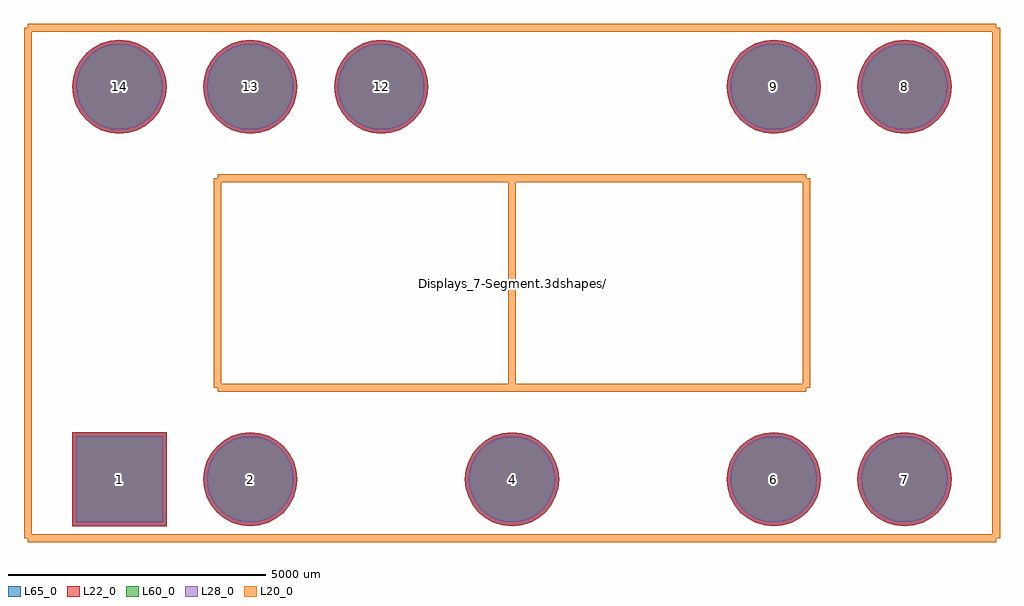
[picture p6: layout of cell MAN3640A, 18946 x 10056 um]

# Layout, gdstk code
import gdstk
lib = gdstk.Library(unit=1e-6, precision=1e-09)
def R(c, l, rs):  # rectangles x0, y0, x1, y1
    for r in rs: c.add(gdstk.rectangle(r[:2], r[2:], *l))
def P(c, l, *ps):  # polygons
    for p in ps: c.add(gdstk.Polygon(p, *l))
L20_0 = (20, 0)
L22_0 = (22, 0)
L28_0 = (28, 0)
L60_0 = (60, 0)
L65_0 = (65, 0)

man3640a = lib.new_cell('MAN3640A')
R(man3640a, L22_0, [(-8533.2,-4723.2,-6706.8,-2896.8)])
P(man3640a, L22_0, [(-6706.8,3810),(-6724.347,3988.156),(-6776.313,4159.467),(-6860.702,4317.347),(-6974.27,4455.73),(-7112.653,4569.298),(-7270.533,4653.687),(-7441.844,4705.653),(-7620,4723.2),(-7798.156,4705.653),(-7969.467,4653.687),(-8127.347,4569.298),(-8265.73,4455.73),(-8379.298,4317.347),(-8463.687,4159.467),(-8515.653,3988.156),(-8533.2,3810),(-8515.653,3631.844),(-8463.687,3460.533),(-8379.298,3302.653),(-8265.73,3164.27),(-8127.347,3050.702),(-7969.467,2966.313),(-7798.156,2914.347),(-7620,2896.8),(-7441.844,2914.347),(-7270.533,2966.313),(-7112.653,3050.702),(-6974.27,3164.27),(-6860.702,3302.653),(-6776.313,3460.533),(-6724.347,3631.844)],
  [(-4166.8,3810),(-4184.347,3988.156),(-4236.313,4159.467),(-4320.702,4317.347),(-4434.27,4455.73),(-4572.653,4569.298),(-4730.533,4653.687),(-4901.844,4705.653),(-5080,4723.2),(-5258.156,4705.653),(-5429.467,4653.687),(-5587.347,4569.298),(-5725.73,4455.73),(-5839.298,4317.347),(-5923.687,4159.467),(-5975.653,3988.156),(-5993.2,3810),(-5975.653,3631.844),(-5923.687,3460.533),(-5839.298,3302.653),(-5725.73,3164.27),(-5587.347,3050.702),(-5429.467,2966.313),(-5258.156,2914.347),(-5080,2896.8),(-4901.844,2914.347),(-4730.533,2966.313),(-4572.653,3050.702),(-4434.27,3164.27),(-4320.702,3302.653),(-4236.313,3460.533),(-4184.347,3631.844)],
  [(-1626.8,3810),(-1644.347,3988.156),(-1696.313,4159.467),(-1780.702,4317.347),(-1894.27,4455.73),(-2032.653,4569.298),(-2190.533,4653.687),(-2361.844,4705.653),(-2540,4723.2),(-2718.156,4705.653),(-2889.467,4653.687),(-3047.347,4569.298),(-3185.73,4455.73),(-3299.298,4317.347),(-3383.687,4159.467),(-3435.653,3988.156),(-3453.2,3810),(-3435.653,3631.844),(-3383.687,3460.533),(-3299.298,3302.653),(-3185.73,3164.27),(-3047.347,3050.702),(-2889.467,2966.313),(-2718.156,2914.347),(-2540,2896.8),(-2361.844,2914.347),(-2190.533,2966.313),(-2032.653,3050.702),(-1894.27,3164.27),(-1780.702,3302.653),(-1696.313,3460.533),(-1644.347,3631.844)],
  [(5993.2,3810),(5975.653,3988.156),(5923.687,4159.467),(5839.298,4317.347),(5725.73,4455.73),(5587.347,4569.298),(5429.467,4653.687),(5258.156,4705.653),(5080,4723.2),(4901.844,4705.653),(4730.533,4653.687),(4572.653,4569.298),(4434.27,4455.73),(4320.702,4317.347),(4236.313,4159.467),(4184.347,3988.156),(4166.8,3810),(4184.347,3631.844),(4236.313,3460.533),(4320.702,3302.653),(4434.27,3164.27),(4572.653,3050.702),(4730.533,2966.313),(4901.844,2914.347),(5080,2896.8),(5258.156,2914.347),(5429.467,2966.313),(5587.347,3050.702),(5725.73,3164.27),(5839.298,3302.653),(5923.687,3460.533),(5975.653,3631.844)],
  [(8533.2,3810),(8515.653,3988.156),(8463.687,4159.467),(8379.298,4317.347),(8265.73,4455.73),(8127.347,4569.298),(7969.467,4653.687),(7798.156,4705.653),(7620,4723.2),(7441.844,4705.653),(7270.533,4653.687),(7112.653,4569.298),(6974.27,4455.73),(6860.702,4317.347),(6776.313,4159.467),(6724.347,3988.156),(6706.8,3810),(6724.347,3631.844),(6776.313,3460.533),(6860.702,3302.653),(6974.27,3164.27),(7112.653,3050.702),(7270.533,2966.313),(7441.844,2914.347),(7620,2896.8),(7798.156,2914.347),(7969.467,2966.313),(8127.347,3050.702),(8265.73,3164.27),(8379.298,3302.653),(8463.687,3460.533),(8515.653,3631.844)],
  [(8533.2,-3810),(8515.653,-3631.844),(8463.687,-3460.533),(8379.298,-3302.653),(8265.73,-3164.27),(8127.347,-3050.702),(7969.467,-2966.313),(7798.156,-2914.347),(7620,-2896.8),(7441.844,-2914.347),(7270.533,-2966.313),(7112.653,-3050.702),(6974.27,-3164.27),(6860.702,-3302.653),(6776.313,-3460.533),(6724.347,-3631.844),(6706.8,-3810),(6724.347,-3988.156),(6776.313,-4159.467),(6860.702,-4317.347),(6974.27,-4455.73),(7112.653,-4569.298),(7270.533,-4653.687),(7441.844,-4705.653),(7620,-4723.2),(7798.156,-4705.653),(7969.467,-4653.687),(8127.347,-4569.298),(8265.73,-4455.73),(8379.298,-4317.347),(8463.687,-4159.467),(8515.653,-3988.156)],
  [(5993.2,-3810),(5975.653,-3631.844),(5923.687,-3460.533),(5839.298,-3302.653),(5725.73,-3164.27),(5587.347,-3050.702),(5429.467,-2966.313),(5258.156,-2914.347),(5080,-2896.8),(4901.844,-2914.347),(4730.533,-2966.313),(4572.653,-3050.702),(4434.27,-3164.27),(4320.702,-3302.653),(4236.313,-3460.533),(4184.347,-3631.844),(4166.8,-3810),(4184.347,-3988.156),(4236.313,-4159.467),(4320.702,-4317.347),(4434.27,-4455.73),(4572.653,-4569.298),(4730.533,-4653.687),(4901.844,-4705.653),(5080,-4723.2),(5258.156,-4705.653),(5429.467,-4653.687),(5587.347,-4569.298),(5725.73,-4455.73),(5839.298,-4317.347),(5923.687,-4159.467),(5975.653,-3988.156)],
  [(913.2,-3810),(895.653,-3631.844),(843.687,-3460.533),(759.298,-3302.653),(645.73,-3164.27),(507.347,-3050.702),(349.467,-2966.313),(178.156,-2914.347),(0,-2896.8),(-178.156,-2914.347),(-349.467,-2966.313),(-507.347,-3050.702),(-645.73,-3164.27),(-759.298,-3302.653),(-843.687,-3460.533),(-895.653,-3631.844),(-913.2,-3810),(-895.653,-3988.156),(-843.687,-4159.467),(-759.298,-4317.347),(-645.73,-4455.73),(-507.347,-4569.298),(-349.467,-4653.687),(-178.156,-4705.653),(0,-4723.2),(178.156,-4705.653),(349.467,-4653.687),(507.347,-4569.298),(645.73,-4455.73),(759.298,-4317.347),(843.687,-4159.467),(895.653,-3988.156)],
  [(-4166.8,-3810),(-4184.347,-3631.844),(-4236.313,-3460.533),(-4320.702,-3302.653),(-4434.27,-3164.27),(-4572.653,-3050.702),(-4730.533,-2966.313),(-4901.844,-2914.347),(-5080,-2896.8),(-5258.156,-2914.347),(-5429.467,-2966.313),(-5587.347,-3050.702),(-5725.73,-3164.27),(-5839.298,-3302.653),(-5923.687,-3460.533),(-5975.653,-3631.844),(-5993.2,-3810),(-5975.653,-3988.156),(-5923.687,-4159.467),(-5839.298,-4317.347),(-5725.73,-4455.73),(-5587.347,-4569.298),(-5429.467,-4653.687),(-5258.156,-4705.653),(-5080,-4723.2),(-4901.844,-4705.653),(-4730.533,-4653.687),(-4572.653,-4569.298),(-4434.27,-4455.73),(-4320.702,-4317.347),(-4236.313,-4159.467),(-4184.347,-3988.156)])
R(man3640a, L28_0, [(-8458.2,-4648.2,-6781.8,-2971.8)])
P(man3640a, L28_0, [(-6781.8,3810),(-6797.906,3973.525),(-6845.604,4130.765),(-6923.062,4275.679),(-7027.303,4402.697),(-7154.321,4506.938),(-7299.235,4584.396),(-7456.475,4632.094),(-7620,4648.2),(-7783.525,4632.094),(-7940.765,4584.396),(-8085.679,4506.938),(-8212.697,4402.697),(-8316.938,4275.679),(-8394.396,4130.765),(-8442.094,3973.525),(-8458.2,3810),(-8442.094,3646.475),(-8394.396,3489.235),(-8316.938,3344.321),(-8212.697,3217.303),(-8085.679,3113.062),(-7940.765,3035.604),(-7783.525,2987.906),(-7620,2971.8),(-7456.475,2987.906),(-7299.235,3035.604),(-7154.321,3113.062),(-7027.303,3217.303),(-6923.062,3344.321),(-6845.604,3489.235),(-6797.906,3646.475)],
  [(-4241.8,3810),(-4257.906,3973.525),(-4305.604,4130.765),(-4383.062,4275.679),(-4487.303,4402.697),(-4614.321,4506.938),(-4759.235,4584.396),(-4916.475,4632.094),(-5080,4648.2),(-5243.525,4632.094),(-5400.765,4584.396),(-5545.679,4506.938),(-5672.697,4402.697),(-5776.938,4275.679),(-5854.396,4130.765),(-5902.094,3973.525),(-5918.2,3810),(-5902.094,3646.475),(-5854.396,3489.235),(-5776.938,3344.321),(-5672.697,3217.303),(-5545.679,3113.062),(-5400.765,3035.604),(-5243.525,2987.906),(-5080,2971.8),(-4916.475,2987.906),(-4759.235,3035.604),(-4614.321,3113.062),(-4487.303,3217.303),(-4383.062,3344.321),(-4305.604,3489.235),(-4257.906,3646.475)],
  [(-1701.8,3810),(-1717.906,3973.525),(-1765.604,4130.765),(-1843.062,4275.679),(-1947.303,4402.697),(-2074.321,4506.938),(-2219.235,4584.396),(-2376.475,4632.094),(-2540,4648.2),(-2703.525,4632.094),(-2860.765,4584.396),(-3005.679,4506.938),(-3132.697,4402.697),(-3236.938,4275.679),(-3314.396,4130.765),(-3362.094,3973.525),(-3378.2,3810),(-3362.094,3646.475),(-3314.396,3489.235),(-3236.938,3344.321),(-3132.697,3217.303),(-3005.679,3113.062),(-2860.765,3035.604),(-2703.525,2987.906),(-2540,2971.8),(-2376.475,2987.906),(-2219.235,3035.604),(-2074.321,3113.062),(-1947.303,3217.303),(-1843.062,3344.321),(-1765.604,3489.235),(-1717.906,3646.475)],
  [(5918.2,3810),(5902.094,3973.525),(5854.396,4130.765),(5776.938,4275.679),(5672.697,4402.697),(5545.679,4506.938),(5400.765,4584.396),(5243.525,4632.094),(5080,4648.2),(4916.475,4632.094),(4759.235,4584.396),(4614.321,4506.938),(4487.303,4402.697),(4383.062,4275.679),(4305.604,4130.765),(4257.906,3973.525),(4241.8,3810),(4257.906,3646.475),(4305.604,3489.235),(4383.062,3344.321),(4487.303,3217.303),(4614.321,3113.062),(4759.235,3035.604),(4916.475,2987.906),(5080,2971.8),(5243.525,2987.906),(5400.765,3035.604),(5545.679,3113.062),(5672.697,3217.303),(5776.938,3344.321),(5854.396,3489.235),(5902.094,3646.475)],
  [(8458.2,3810),(8442.094,3973.525),(8394.396,4130.765),(8316.938,4275.679),(8212.697,4402.697),(8085.679,4506.938),(7940.765,4584.396),(7783.525,4632.094),(7620,4648.2),(7456.475,4632.094),(7299.235,4584.396),(7154.321,4506.938),(7027.303,4402.697),(6923.062,4275.679),(6845.604,4130.765),(6797.906,3973.525),(6781.8,3810),(6797.906,3646.475),(6845.604,3489.235),(6923.062,3344.321),(7027.303,3217.303),(7154.321,3113.062),(7299.235,3035.604),(7456.475,2987.906),(7620,2971.8),(7783.525,2987.906),(7940.765,3035.604),(8085.679,3113.062),(8212.697,3217.303),(8316.938,3344.321),(8394.396,3489.235),(8442.094,3646.475)],
  [(8458.2,-3810),(8442.094,-3646.475),(8394.396,-3489.235),(8316.938,-3344.321),(8212.697,-3217.303),(8085.679,-3113.062),(7940.765,-3035.604),(7783.525,-2987.906),(7620,-2971.8),(7456.475,-2987.906),(7299.235,-3035.604),(7154.321,-3113.062),(7027.303,-3217.303),(6923.062,-3344.321),(6845.604,-3489.235),(6797.906,-3646.475),(6781.8,-3810),(6797.906,-3973.525),(6845.604,-4130.765),(6923.062,-4275.679),(7027.303,-4402.697),(7154.321,-4506.938),(7299.235,-4584.396),(7456.475,-4632.094),(7620,-4648.2),(7783.525,-4632.094),(7940.765,-4584.396),(8085.679,-4506.938),(8212.697,-4402.697),(8316.938,-4275.679),(8394.396,-4130.765),(8442.094,-3973.525)],
  [(5918.2,-3810),(5902.094,-3646.475),(5854.396,-3489.235),(5776.938,-3344.321),(5672.697,-3217.303),(5545.679,-3113.062),(5400.765,-3035.604),(5243.525,-2987.906),(5080,-2971.8),(4916.475,-2987.906),(4759.235,-3035.604),(4614.321,-3113.062),(4487.303,-3217.303),(4383.062,-3344.321),(4305.604,-3489.235),(4257.906,-3646.475),(4241.8,-3810),(4257.906,-3973.525),(4305.604,-4130.765),(4383.062,-4275.679),(4487.303,-4402.697),(4614.321,-4506.938),(4759.235,-4584.396),(4916.475,-4632.094),(5080,-4648.2),(5243.525,-4632.094),(5400.765,-4584.396),(5545.679,-4506.938),(5672.697,-4402.697),(5776.938,-4275.679),(5854.396,-4130.765),(5902.094,-3973.525)],
  [(838.2,-3810),(822.094,-3646.475),(774.396,-3489.235),(696.938,-3344.321),(592.697,-3217.303),(465.679,-3113.062),(320.765,-3035.604),(163.525,-2987.906),(0,-2971.8),(-163.525,-2987.906),(-320.765,-3035.604),(-465.679,-3113.062),(-592.697,-3217.303),(-696.938,-3344.321),(-774.396,-3489.235),(-822.094,-3646.475),(-838.2,-3810),(-822.094,-3973.525),(-774.396,-4130.765),(-696.938,-4275.679),(-592.697,-4402.697),(-465.679,-4506.938),(-320.765,-4584.396),(-163.525,-4632.094),(0,-4648.2),(163.525,-4632.094),(320.765,-4584.396),(465.679,-4506.938),(592.697,-4402.697),(696.938,-4275.679),(774.396,-4130.765),(822.094,-3973.525)],
  [(-4241.8,-3810),(-4257.906,-3646.475),(-4305.604,-3489.235),(-4383.062,-3344.321),(-4487.303,-3217.303),(-4614.321,-3113.062),(-4759.235,-3035.604),(-4916.475,-2987.906),(-5080,-2971.8),(-5243.525,-2987.906),(-5400.765,-3035.604),(-5545.679,-3113.062),(-5672.697,-3217.303),(-5776.938,-3344.321),(-5854.396,-3489.235),(-5902.094,-3646.475),(-5918.2,-3810),(-5902.094,-3973.525),(-5854.396,-4130.765),(-5776.938,-4275.679),(-5672.697,-4402.697),(-5545.679,-4506.938),(-5400.765,-4584.396),(-5243.525,-4632.094),(-5080,-4648.2),(-4916.475,-4632.094),(-4759.235,-4584.396),(-4614.321,-4506.938),(-4487.303,-4402.697),(-4383.062,-4275.679),(-4305.604,-4130.765),(-4257.906,-3973.525)])
R(man3640a, L60_0, [(-8458.2,-4648.2,-6781.8,-2971.8)])
P(man3640a, L60_0, [(-6781.8,3810),(-6797.906,3973.525),(-6845.604,4130.765),(-6923.062,4275.679),(-7027.303,4402.697),(-7154.321,4506.938),(-7299.235,4584.396),(-7456.475,4632.094),(-7620,4648.2),(-7783.525,4632.094),(-7940.765,4584.396),(-8085.679,4506.938),(-8212.697,4402.697),(-8316.938,4275.679),(-8394.396,4130.765),(-8442.094,3973.525),(-8458.2,3810),(-8442.094,3646.475),(-8394.396,3489.235),(-8316.938,3344.321),(-8212.697,3217.303),(-8085.679,3113.062),(-7940.765,3035.604),(-7783.525,2987.906),(-7620,2971.8),(-7456.475,2987.906),(-7299.235,3035.604),(-7154.321,3113.062),(-7027.303,3217.303),(-6923.062,3344.321),(-6845.604,3489.235),(-6797.906,3646.475)],
  [(-4241.8,3810),(-4257.906,3973.525),(-4305.604,4130.765),(-4383.062,4275.679),(-4487.303,4402.697),(-4614.321,4506.938),(-4759.235,4584.396),(-4916.475,4632.094),(-5080,4648.2),(-5243.525,4632.094),(-5400.765,4584.396),(-5545.679,4506.938),(-5672.697,4402.697),(-5776.938,4275.679),(-5854.396,4130.765),(-5902.094,3973.525),(-5918.2,3810),(-5902.094,3646.475),(-5854.396,3489.235),(-5776.938,3344.321),(-5672.697,3217.303),(-5545.679,3113.062),(-5400.765,3035.604),(-5243.525,2987.906),(-5080,2971.8),(-4916.475,2987.906),(-4759.235,3035.604),(-4614.321,3113.062),(-4487.303,3217.303),(-4383.062,3344.321),(-4305.604,3489.235),(-4257.906,3646.475)],
  [(-1701.8,3810),(-1717.906,3973.525),(-1765.604,4130.765),(-1843.062,4275.679),(-1947.303,4402.697),(-2074.321,4506.938),(-2219.235,4584.396),(-2376.475,4632.094),(-2540,4648.2),(-2703.525,4632.094),(-2860.765,4584.396),(-3005.679,4506.938),(-3132.697,4402.697),(-3236.938,4275.679),(-3314.396,4130.765),(-3362.094,3973.525),(-3378.2,3810),(-3362.094,3646.475),(-3314.396,3489.235),(-3236.938,3344.321),(-3132.697,3217.303),(-3005.679,3113.062),(-2860.765,3035.604),(-2703.525,2987.906),(-2540,2971.8),(-2376.475,2987.906),(-2219.235,3035.604),(-2074.321,3113.062),(-1947.303,3217.303),(-1843.062,3344.321),(-1765.604,3489.235),(-1717.906,3646.475)],
  [(5918.2,3810),(5902.094,3973.525),(5854.396,4130.765),(5776.938,4275.679),(5672.697,4402.697),(5545.679,4506.938),(5400.765,4584.396),(5243.525,4632.094),(5080,4648.2),(4916.475,4632.094),(4759.235,4584.396),(4614.321,4506.938),(4487.303,4402.697),(4383.062,4275.679),(4305.604,4130.765),(4257.906,3973.525),(4241.8,3810),(4257.906,3646.475),(4305.604,3489.235),(4383.062,3344.321),(4487.303,3217.303),(4614.321,3113.062),(4759.235,3035.604),(4916.475,2987.906),(5080,2971.8),(5243.525,2987.906),(5400.765,3035.604),(5545.679,3113.062),(5672.697,3217.303),(5776.938,3344.321),(5854.396,3489.235),(5902.094,3646.475)],
  [(8458.2,3810),(8442.094,3973.525),(8394.396,4130.765),(8316.938,4275.679),(8212.697,4402.697),(8085.679,4506.938),(7940.765,4584.396),(7783.525,4632.094),(7620,4648.2),(7456.475,4632.094),(7299.235,4584.396),(7154.321,4506.938),(7027.303,4402.697),(6923.062,4275.679),(6845.604,4130.765),(6797.906,3973.525),(6781.8,3810),(6797.906,3646.475),(6845.604,3489.235),(6923.062,3344.321),(7027.303,3217.303),(7154.321,3113.062),(7299.235,3035.604),(7456.475,2987.906),(7620,2971.8),(7783.525,2987.906),(7940.765,3035.604),(8085.679,3113.062),(8212.697,3217.303),(8316.938,3344.321),(8394.396,3489.235),(8442.094,3646.475)],
  [(8458.2,-3810),(8442.094,-3646.475),(8394.396,-3489.235),(8316.938,-3344.321),(8212.697,-3217.303),(8085.679,-3113.062),(7940.765,-3035.604),(7783.525,-2987.906),(7620,-2971.8),(7456.475,-2987.906),(7299.235,-3035.604),(7154.321,-3113.062),(7027.303,-3217.303),(6923.062,-3344.321),(6845.604,-3489.235),(6797.906,-3646.475),(6781.8,-3810),(6797.906,-3973.525),(6845.604,-4130.765),(6923.062,-4275.679),(7027.303,-4402.697),(7154.321,-4506.938),(7299.235,-4584.396),(7456.475,-4632.094),(7620,-4648.2),(7783.525,-4632.094),(7940.765,-4584.396),(8085.679,-4506.938),(8212.697,-4402.697),(8316.938,-4275.679),(8394.396,-4130.765),(8442.094,-3973.525)],
  [(5918.2,-3810),(5902.094,-3646.475),(5854.396,-3489.235),(5776.938,-3344.321),(5672.697,-3217.303),(5545.679,-3113.062),(5400.765,-3035.604),(5243.525,-2987.906),(5080,-2971.8),(4916.475,-2987.906),(4759.235,-3035.604),(4614.321,-3113.062),(4487.303,-3217.303),(4383.062,-3344.321),(4305.604,-3489.235),(4257.906,-3646.475),(4241.8,-3810),(4257.906,-3973.525),(4305.604,-4130.765),(4383.062,-4275.679),(4487.303,-4402.697),(4614.321,-4506.938),(4759.235,-4584.396),(4916.475,-4632.094),(5080,-4648.2),(5243.525,-4632.094),(5400.765,-4584.396),(5545.679,-4506.938),(5672.697,-4402.697),(5776.938,-4275.679),(5854.396,-4130.765),(5902.094,-3973.525)],
  [(838.2,-3810),(822.094,-3646.475),(774.396,-3489.235),(696.938,-3344.321),(592.697,-3217.303),(465.679,-3113.062),(320.765,-3035.604),(163.525,-2987.906),(0,-2971.8),(-163.525,-2987.906),(-320.765,-3035.604),(-465.679,-3113.062),(-592.697,-3217.303),(-696.938,-3344.321),(-774.396,-3489.235),(-822.094,-3646.475),(-838.2,-3810),(-822.094,-3973.525),(-774.396,-4130.765),(-696.938,-4275.679),(-592.697,-4402.697),(-465.679,-4506.938),(-320.765,-4584.396),(-163.525,-4632.094),(0,-4648.2),(163.525,-4632.094),(320.765,-4584.396),(465.679,-4506.938),(592.697,-4402.697),(696.938,-4275.679),(774.396,-4130.765),(822.094,-3973.525)],
  [(-4241.8,-3810),(-4257.906,-3646.475),(-4305.604,-3489.235),(-4383.062,-3344.321),(-4487.303,-3217.303),(-4614.321,-3113.062),(-4759.235,-3035.604),(-4916.475,-2987.906),(-5080,-2971.8),(-5243.525,-2987.906),(-5400.765,-3035.604),(-5545.679,-3113.062),(-5672.697,-3217.303),(-5776.938,-3344.321),(-5854.396,-3489.235),(-5902.094,-3646.475),(-5918.2,-3810),(-5902.094,-3973.525),(-5854.396,-4130.765),(-5776.938,-4275.679),(-5672.697,-4402.697),(-5545.679,-4506.938),(-5400.765,-4584.396),(-5243.525,-4632.094),(-5080,-4648.2),(-4916.475,-4632.094),(-4759.235,-4584.396),(-4614.321,-4506.938),(-4487.303,-4402.697),(-4383.062,-4275.679),(-4305.604,-4130.765),(-4257.906,-3973.525)])
R(man3640a, L65_0, [(-8533.2,-4723.2,-6706.8,-2896.8)])
P(man3640a, L65_0, [(-6706.8,3810),(-6724.347,3988.156),(-6776.313,4159.467),(-6860.702,4317.347),(-6974.27,4455.73),(-7112.653,4569.298),(-7270.533,4653.687),(-7441.844,4705.653),(-7620,4723.2),(-7798.156,4705.653),(-7969.467,4653.687),(-8127.347,4569.298),(-8265.73,4455.73),(-8379.298,4317.347),(-8463.687,4159.467),(-8515.653,3988.156),(-8533.2,3810),(-8515.653,3631.844),(-8463.687,3460.533),(-8379.298,3302.653),(-8265.73,3164.27),(-8127.347,3050.702),(-7969.467,2966.313),(-7798.156,2914.347),(-7620,2896.8),(-7441.844,2914.347),(-7270.533,2966.313),(-7112.653,3050.702),(-6974.27,3164.27),(-6860.702,3302.653),(-6776.313,3460.533),(-6724.347,3631.844)],
  [(-4166.8,3810),(-4184.347,3988.156),(-4236.313,4159.467),(-4320.702,4317.347),(-4434.27,4455.73),(-4572.653,4569.298),(-4730.533,4653.687),(-4901.844,4705.653),(-5080,4723.2),(-5258.156,4705.653),(-5429.467,4653.687),(-5587.347,4569.298),(-5725.73,4455.73),(-5839.298,4317.347),(-5923.687,4159.467),(-5975.653,3988.156),(-5993.2,3810),(-5975.653,3631.844),(-5923.687,3460.533),(-5839.298,3302.653),(-5725.73,3164.27),(-5587.347,3050.702),(-5429.467,2966.313),(-5258.156,2914.347),(-5080,2896.8),(-4901.844,2914.347),(-4730.533,2966.313),(-4572.653,3050.702),(-4434.27,3164.27),(-4320.702,3302.653),(-4236.313,3460.533),(-4184.347,3631.844)],
  [(-1626.8,3810),(-1644.347,3988.156),(-1696.313,4159.467),(-1780.702,4317.347),(-1894.27,4455.73),(-2032.653,4569.298),(-2190.533,4653.687),(-2361.844,4705.653),(-2540,4723.2),(-2718.156,4705.653),(-2889.467,4653.687),(-3047.347,4569.298),(-3185.73,4455.73),(-3299.298,4317.347),(-3383.687,4159.467),(-3435.653,3988.156),(-3453.2,3810),(-3435.653,3631.844),(-3383.687,3460.533),(-3299.298,3302.653),(-3185.73,3164.27),(-3047.347,3050.702),(-2889.467,2966.313),(-2718.156,2914.347),(-2540,2896.8),(-2361.844,2914.347),(-2190.533,2966.313),(-2032.653,3050.702),(-1894.27,3164.27),(-1780.702,3302.653),(-1696.313,3460.533),(-1644.347,3631.844)],
  [(5993.2,3810),(5975.653,3988.156),(5923.687,4159.467),(5839.298,4317.347),(5725.73,4455.73),(5587.347,4569.298),(5429.467,4653.687),(5258.156,4705.653),(5080,4723.2),(4901.844,4705.653),(4730.533,4653.687),(4572.653,4569.298),(4434.27,4455.73),(4320.702,4317.347),(4236.313,4159.467),(4184.347,3988.156),(4166.8,3810),(4184.347,3631.844),(4236.313,3460.533),(4320.702,3302.653),(4434.27,3164.27),(4572.653,3050.702),(4730.533,2966.313),(4901.844,2914.347),(5080,2896.8),(5258.156,2914.347),(5429.467,2966.313),(5587.347,3050.702),(5725.73,3164.27),(5839.298,3302.653),(5923.687,3460.533),(5975.653,3631.844)],
  [(8533.2,3810),(8515.653,3988.156),(8463.687,4159.467),(8379.298,4317.347),(8265.73,4455.73),(8127.347,4569.298),(7969.467,4653.687),(7798.156,4705.653),(7620,4723.2),(7441.844,4705.653),(7270.533,4653.687),(7112.653,4569.298),(6974.27,4455.73),(6860.702,4317.347),(6776.313,4159.467),(6724.347,3988.156),(6706.8,3810),(6724.347,3631.844),(6776.313,3460.533),(6860.702,3302.653),(6974.27,3164.27),(7112.653,3050.702),(7270.533,2966.313),(7441.844,2914.347),(7620,2896.8),(7798.156,2914.347),(7969.467,2966.313),(8127.347,3050.702),(8265.73,3164.27),(8379.298,3302.653),(8463.687,3460.533),(8515.653,3631.844)],
  [(8533.2,-3810),(8515.653,-3631.844),(8463.687,-3460.533),(8379.298,-3302.653),(8265.73,-3164.27),(8127.347,-3050.702),(7969.467,-2966.313),(7798.156,-2914.347),(7620,-2896.8),(7441.844,-2914.347),(7270.533,-2966.313),(7112.653,-3050.702),(6974.27,-3164.27),(6860.702,-3302.653),(6776.313,-3460.533),(6724.347,-3631.844),(6706.8,-3810),(6724.347,-3988.156),(6776.313,-4159.467),(6860.702,-4317.347),(6974.27,-4455.73),(7112.653,-4569.298),(7270.533,-4653.687),(7441.844,-4705.653),(7620,-4723.2),(7798.156,-4705.653),(7969.467,-4653.687),(8127.347,-4569.298),(8265.73,-4455.73),(8379.298,-4317.347),(8463.687,-4159.467),(8515.653,-3988.156)],
  [(5993.2,-3810),(5975.653,-3631.844),(5923.687,-3460.533),(5839.298,-3302.653),(5725.73,-3164.27),(5587.347,-3050.702),(5429.467,-2966.313),(5258.156,-2914.347),(5080,-2896.8),(4901.844,-2914.347),(4730.533,-2966.313),(4572.653,-3050.702),(4434.27,-3164.27),(4320.702,-3302.653),(4236.313,-3460.533),(4184.347,-3631.844),(4166.8,-3810),(4184.347,-3988.156),(4236.313,-4159.467),(4320.702,-4317.347),(4434.27,-4455.73),(4572.653,-4569.298),(4730.533,-4653.687),(4901.844,-4705.653),(5080,-4723.2),(5258.156,-4705.653),(5429.467,-4653.687),(5587.347,-4569.298),(5725.73,-4455.73),(5839.298,-4317.347),(5923.687,-4159.467),(5975.653,-3988.156)],
  [(913.2,-3810),(895.653,-3631.844),(843.687,-3460.533),(759.298,-3302.653),(645.73,-3164.27),(507.347,-3050.702),(349.467,-2966.313),(178.156,-2914.347),(0,-2896.8),(-178.156,-2914.347),(-349.467,-2966.313),(-507.347,-3050.702),(-645.73,-3164.27),(-759.298,-3302.653),(-843.687,-3460.533),(-895.653,-3631.844),(-913.2,-3810),(-895.653,-3988.156),(-843.687,-4159.467),(-759.298,-4317.347),(-645.73,-4455.73),(-507.347,-4569.298),(-349.467,-4653.687),(-178.156,-4705.653),(0,-4723.2),(178.156,-4705.653),(349.467,-4653.687),(507.347,-4569.298),(645.73,-4455.73),(759.298,-4317.347),(843.687,-4159.467),(895.653,-3988.156)],
  [(-4166.8,-3810),(-4184.347,-3631.844),(-4236.313,-3460.533),(-4320.702,-3302.653),(-4434.27,-3164.27),(-4572.653,-3050.702),(-4730.533,-2966.313),(-4901.844,-2914.347),(-5080,-2896.8),(-5258.156,-2914.347),(-5429.467,-2966.313),(-5587.347,-3050.702),(-5725.73,-3164.27),(-5839.298,-3302.653),(-5923.687,-3460.533),(-5975.653,-3631.844),(-5993.2,-3810),(-5975.653,-3988.156),(-5923.687,-4159.467),(-5839.298,-4317.347),(-5725.73,-4455.73),(-5587.347,-4569.298),(-5429.467,-4653.687),(-5258.156,-4705.653),(-5080,-4723.2),(-4901.844,-4705.653),(-4730.533,-4653.687),(-4572.653,-4569.298),(-4434.27,-4455.73),(-4320.702,-4317.347),(-4236.313,-4159.467),(-4184.347,-3988.156)])
man3640a.add(gdstk.FlexPath([(-9398,-4953),(9398,-4953)], 149.998, ends="flush", simple_path=True, layer=20, datatype=0))  # L20_0
man3640a.add(gdstk.FlexPath([(-9398,4953),(-9398,-4953)], 149.998, ends="flush", simple_path=True, layer=20, datatype=0))  # L20_0
man3640a.add(gdstk.FlexPath([(9398,4953),(-9398,4953)], 149.998, ends="flush", simple_path=True, layer=20, datatype=0))  # L20_0
man3640a.add(gdstk.FlexPath([(9398,-4953),(9398,4953)], 149.998, ends="flush", simple_path=True, layer=20, datatype=0))  # L20_0
man3640a.add(gdstk.FlexPath([(0,-2032),(0,2032)], 149.998, ends="flush", simple_path=True, layer=20, datatype=0))  # L20_0
man3640a.add(gdstk.FlexPath([(5715,-2032),(0,-2032)], 149.998, ends="flush", simple_path=True, layer=20, datatype=0))  # L20_0
man3640a.add(gdstk.FlexPath([(5715,2032),(5715,-2032)], 149.998, ends="flush", simple_path=True, layer=20, datatype=0))  # L20_0
man3640a.add(gdstk.FlexPath([(-5715,2032),(5715,2032)], 149.998, ends="flush", simple_path=True, layer=20, datatype=0))  # L20_0
man3640a.add(gdstk.FlexPath([(-5715,-2032),(-5715,2032)], 149.998, ends="flush", simple_path=True, layer=20, datatype=0))  # L20_0
man3640a.add(gdstk.FlexPath([(0,-2032),(-5715,-2032)], 149.998, ends="flush", simple_path=True, layer=20, datatype=0))  # L20_0
man3640a.add(gdstk.Label('Displays_7-Segment.3dshapes/MAN3640A.wrl', (0,0), layer=12, texttype=0))
man3640a.add(gdstk.Label('14', (-7620,3810), layer=28, texttype=0))
man3640a.add(gdstk.Label('13', (-5080,3810), layer=28, texttype=0))
man3640a.add(gdstk.Label('12', (-2540,3810), layer=28, texttype=0))
man3640a.add(gdstk.Label('9', (5080,3810), layer=28, texttype=0))
man3640a.add(gdstk.Label('8', (7620,3810), layer=28, texttype=0))
man3640a.add(gdstk.Label('7', (7620,-3810), layer=28, texttype=0))
man3640a.add(gdstk.Label('6', (5080,-3810), layer=28, texttype=0))
man3640a.add(gdstk.Label('4', (0,-3810), layer=28, texttype=0))
man3640a.add(gdstk.Label('2', (-5080,-3810), layer=28, texttype=0))
man3640a.add(gdstk.Label('1', (-7620,-3810), layer=28, texttype=0))
man3640a.add(gdstk.Label('type', (-11430,0), layer=9, texttype=0))
man3640a.add(gdstk.Label('devicename', (11430,0), layer=9, texttype=0))

lib.write_gds('MAN3640A.gds')
